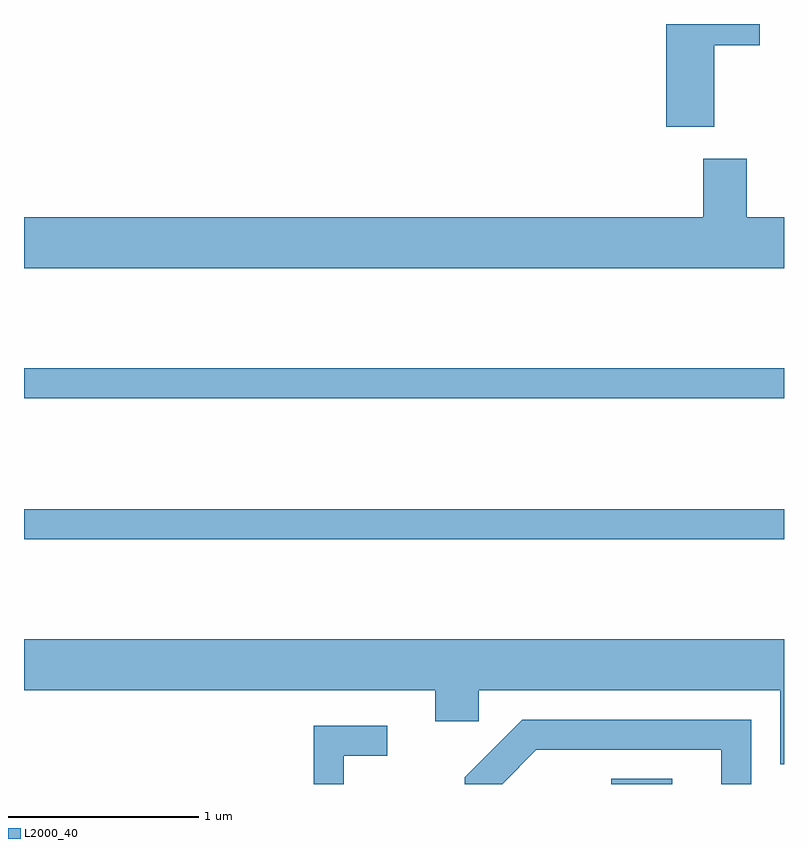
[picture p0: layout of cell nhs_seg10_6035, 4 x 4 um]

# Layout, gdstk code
import gdstk
lib = gdstk.Library(unit=1e-6, precision=1e-09)
def R(c, l, rs):  # rectangles x0, y0, x1, y1
    for r in rs: c.add(gdstk.rectangle(r[:2], r[2:], *l))
def P(c, l, *ps):  # polygons
    for p in ps: c.add(gdstk.Polygon(p, *l))
L2000_40 = (2000, 40)

nhs_seg10_6035 = lib.new_cell('nhs_seg10_6035')
R(nhs_seg10_6035, L2000_40, [(366.701,2124.522,367.023,2124.549), (363.611,2125.811,367.611,2125.969), (363.611,2126.551,367.611,2126.709)])
P(nhs_seg10_6035, L2000_40, [(367.244,2128.411),(367.484,2128.411),(367.484,2128.522),(366.991,2128.522),(366.991,2127.981),(367.244,2127.981)],
  [(367.611,2127.504),(367.414,2127.504),(367.414,2127.814),(367.186,2127.814),(367.186,2127.504),(363.611,2127.504),(363.611,2127.236),(367.611,2127.236)],
  [(367.611,2125.284),(363.611,2125.284),(363.611,2125.016),(365.776,2125.016),(365.776,2124.851),(366.004,2124.851),(366.004,2125.016),(367.591,2125.016),(367.591,2124.626),(367.611,2124.626)],
  [(366.307,2124.701),(367.281,2124.701),(367.281,2124.522),(367.439,2124.522),(367.439,2124.859),(366.234,2124.859),(365.931,2124.557),(365.931,2124.522),(366.127,2124.522)],
  [(365.294,2124.671),(365.523,2124.671),(365.523,2124.829),(365.136,2124.829),(365.136,2124.522),(365.294,2124.522)])

lib.write_gds('nhs_seg10_6035.gds')
